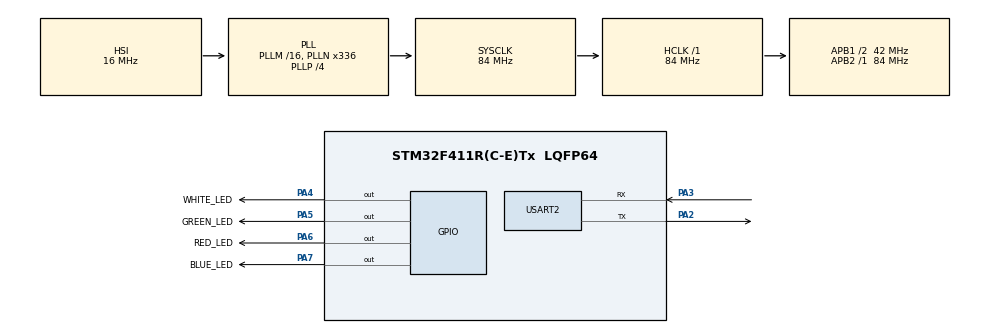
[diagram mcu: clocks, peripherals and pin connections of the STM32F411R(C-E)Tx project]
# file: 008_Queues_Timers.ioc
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Mcu.Family=STM32F4
Mcu.Name=STM32F411R(C-E)Tx
Mcu.Package=LQFP64
NVIC.PriorityGroup=NVIC_PRIORITYGROUP_4
NVIC.TIM1_UP_TIM10_IRQn=true\:0\:0\:true\:false\:true\:false\:true\:true
NVIC.TimeBase=TIM1_UP_TIM10_IRQn
NVIC.TimeBaseIP=TIM1
NVIC.USART2_IRQn=true\:6\:0\:true\:false\:true\:true\:true\:true
PA2.Mode=Asynchronous
PA2.Signal=USART2_TX
PA3.Mode=Asynchronous
PA3.Signal=USART2_RX
PA4.GPIO_Label=WHITE_LED
PA4.Signal=GPIO_Output
PA5.GPIO_Label=GREEN_LED
PA5.Signal=GPIO_Output
PA6.GPIO_Label=RED_LED
PA6.Signal=GPIO_Output
PA7.GPIO_Label=BLUE_LED
PA7.Signal=GPIO_Output
ProjectManager.HeapSize=0x200
ProjectManager.StackSize=0x400
ProjectManager.TargetToolchain=CMake
RCC.48MHZClocksFreq_Value=84000000
RCC.AHBFreq_Value=84000000
RCC.APB1CLKDivider=RCC_HCLK_DIV2
RCC.APB1Freq_Value=42000000
RCC.APB1TimFreq_Value=84000000
RCC.APB2Freq_Value=84000000
RCC.APB2TimFreq_Value=84000000
RCC.CortexFreq_Value=84000000
RCC.FLatency-AdvancedSettings=FLASH_LATENCY_2
RCC.HCLKFreq_Value=84000000
RCC.HSE_VALUE=8000000
RCC.HSI_VALUE=16000000
RCC.LSE_VALUE=32768
RCC.PLLN=336
RCC.PLLP=RCC_PLLP_DIV4
RCC.SYSCLKFreq_VALUE=84000000
RCC.SYSCLKSource=RCC_SYSCLKSOURCE_PLLCLK
RCC.VCOOutputFreq_Value=336000000
RTC.HourFormat=RTC_HOURFORMAT_12
USART2.VirtualMode=VM_ASYNC
VP_RTC_VS_RTC_Activate.Mode=RTC_Enabled
VP_SYS_VS_tim1.Mode=TIM1
board=NUCLEO-F411RE

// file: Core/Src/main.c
/* USER CODE BEGIN Header */
/**
  ******************************************************************************
  * @file           : main.c
  * @brief          : Main program body
  ******************************************************************************
  * @attention
  *
  * Copyright (c) 2026 STMicroelectronics.
  * All rights reserved.
  *
  * This software is licensed under terms that can be found in the LICENSE file
  * in the root directory of this software component.
  * If no LICENSE file comes with this software, it is provided AS-IS.
  *
  ******************************************************************************
  */
/* USER CODE END Header */
#include "main.h"

/* USER CODE BEGIN Includes */
#include "FreeRTOS.h"
#include "task.h"
#include "queue.h"
#include "timers.h"

#include "FreeRTOSConfig.h"

#include "stdio.h"
/* USER CODE END Includes */

RTC_HandleTypeDef hrtc;

UART_HandleTypeDef huart2;

/* USER CODE BEGIN PV */
TaskHandle_t handle_task_menu, handle_task_led, handle_task_rtc, handle_task_print, handle_task_command_handling;
QueueHandle_t handle_queue_print, handle_queue_input_data;

volatile uint8_t user_data;

volatile state_t curr_state = S_MAIN_MENU;

TimerHandle_t handle_led_timers[4];
/* USER CODE END PV */

void SystemClock_Config(void);
static void MX_GPIO_Init(void);
static void MX_RTC_Init(void);
static void MX_USART2_UART_Init(void);

int main(void)
{

  /* MCU Configuration--------------------------------------------------------*/

  /* Reset of all peripherals, Initializes the Flash interface and the Systick. */
  HAL_Init();

  /* Configure the system clock */
  SystemClock_Config();

  /* Initialize all configured peripherals */
  MX_GPIO_Init();
  MX_RTC_Init();
  MX_USART2_UART_Init();
  /* USER CODE BEGIN 2 */
  BaseType_t status;

  status = xTaskCreate(
    menu_task,
    "menu_task",
    250,
    NULL,
    2,
    &handle_task_menu
  );
  configASSERT(status == pdPASS);

  status = xTaskCreate(
    led_task,
    "led_task",
    250,
    NULL,
    2,
    &handle_task_led
  );
  configASSERT(status == pdPASS);

  status = xTaskCreate(
    rtc_task,
    "rtc_task",
    250,
    NULL,
    2,
    &handle_task_rtc
  );
  configASSERT(status == pdPASS);

  status = xTaskCreate(
    print_task,
    "print_task",
    250,
    NULL,
    2,
    &handle_task_print
  );
  configASSERT(status == pdPASS);

  status = xTaskCreate(
    command_handling_task,
    "command_handling_task",
    250,
    NULL,
    2,
    &handle_task_command_handling
  );
  configASSERT(status == pdPASS);

  handle_queue_print = xQueueCreate(10, sizeof( char* ));
  configASSERT( handle_queue_print != NULL );

  handle_queue_input_data = xQueueCreate(10, sizeof( size_t ));   // SIZE OF A POINTER
  configASSERT( handle_queue_input_data != NULL );

  for( uint8_t i= 0; i < 4; i++ )
  {
    handle_led_timers[i] = xTimerCreate("LED_Timer", pdMS_TO_TICKS(500), pdTRUE, (void*)(i+1), LED_Timer_Callback);
  }

  HAL_UART_Receive_IT(&huart2, (uint8_t*) &user_data, 1);

  vTaskStartScheduler();
  /* USER CODE END 2 */

  /* Infinite loop */
  while (1)
  {

  }
}

void SystemClock_Config(void)
{
  RCC_OscInitTypeDef RCC_OscInitStruct = {0};
  RCC_ClkInitTypeDef RCC_ClkInitStruct = {0};

  /** Configure the main internal regulator output voltage
  */
  __HAL_RCC_PWR_CLK_ENABLE();
  __HAL_PWR_VOLTAGESCALING_CONFIG(PWR_REGULATOR_VOLTAGE_SCALE1);

  /** Initializes the RCC Oscillators according to the specified parameters
  * in the RCC_OscInitTypeDef structure.
  */
  RCC_OscInitStruct.OscillatorType = RCC_OSCILLATORTYPE_HSI|RCC_OSCILLATORTYPE_LSI;
  RCC_OscInitStruct.HSIState = RCC_HSI_ON;
  RCC_OscInitStruct.HSICalibrationValue = RCC_HSICALIBRATION_DEFAULT;
  RCC_OscInitStruct.LSIState = RCC_LSI_ON;
  RCC_OscInitStruct.PLL.PLLState = RCC_PLL_ON;
  RCC_OscInitStruct.PLL.PLLSource = RCC_PLLSOURCE_HSI;
  RCC_OscInitStruct.PLL.PLLM = 16;
  RCC_OscInitStruct.PLL.PLLN = 336;
  RCC_OscInitStruct.PLL.PLLP = RCC_PLLP_DIV4;
  RCC_OscInitStruct.PLL.PLLQ = 4;
  if (HAL_RCC_OscConfig(&RCC_OscInitStruct) != HAL_OK)
  {
    Error_Handler();
  }

  /** Initializes the CPU, AHB and APB buses clocks
  */
  RCC_ClkInitStruct.ClockType = RCC_CLOCKTYPE_HCLK|RCC_CLOCKTYPE_SYSCLK
                              |RCC_CLOCKTYPE_PCLK1|RCC_CLOCKTYPE_PCLK2;
  RCC_ClkInitStruct.SYSCLKSource = RCC_SYSCLKSOURCE_PLLCLK;
  RCC_ClkInitStruct.AHBCLKDivider = RCC_SYSCLK_DIV1;
  RCC_ClkInitStruct.APB1CLKDivider = RCC_HCLK_DIV2;
  RCC_ClkInitStruct.APB2CLKDivider = RCC_HCLK_DIV1;

  if (HAL_RCC_ClockConfig(&RCC_ClkInitStruct, FLASH_LATENCY_2) != HAL_OK)
  {
    Error_Handler();
  }
}

static void MX_RTC_Init(void)
{

  /** Initialize RTC Only
  */
  hrtc.Instance = RTC;
  hrtc.Init.HourFormat = RTC_HOURFORMAT_12;
  hrtc.Init.AsynchPrediv = 127;
  hrtc.Init.SynchPrediv = 255;
  hrtc.Init.OutPut = RTC_OUTPUT_DISABLE;
  hrtc.Init.OutPutPolarity = RTC_OUTPUT_POLARITY_HIGH;
  hrtc.Init.OutPutType = RTC_OUTPUT_TYPE_OPENDRAIN;
  if (HAL_RTC_Init(&hrtc) != HAL_OK)
  {
    Error_Handler();
  }

}

static void MX_USART2_UART_Init(void)
{

  huart2.Instance = USART2;
  huart2.Init.BaudRate = 115200;
  huart2.Init.WordLength = UART_WORDLENGTH_8B;
  huart2.Init.StopBits = UART_STOPBITS_1;
  huart2.Init.Parity = UART_PARITY_NONE;
  huart2.Init.Mode = UART_MODE_TX_RX;
  huart2.Init.HwFlowCtl = UART_HWCONTROL_NONE;
  huart2.Init.OverSampling = UART_OVERSAMPLING_16;
  if (HAL_UART_Init(&huart2) != HAL_OK)
  {
    Error_Handler();
  }

}

static void MX_GPIO_Init(void)
{
  GPIO_InitTypeDef GPIO_InitStruct = {0};

  /* GPIO Ports Clock Enable */
  __HAL_RCC_GPIOA_CLK_ENABLE();

  /*Configure GPIO pin Output Level */
  HAL_GPIO_WritePin(GPIOA, WHITE_LED_Pin|GREEN_LED_Pin|RED_LED_Pin|BLUE_LED_Pin, GPIO_PIN_RESET);

  /*Configure GPIO pins : WHITE_LED_Pin GREEN_LED_Pin RED_LED_Pin BLUE_LED_Pin */
  GPIO_InitStruct.Pin = WHITE_LED_Pin|GREEN_LED_Pin|RED_LED_Pin|BLUE_LED_Pin;
  GPIO_InitStruct.Mode = GPIO_MODE_OUTPUT_PP;
  GPIO_InitStruct.Pull = GPIO_NOPULL;
  GPIO_InitStruct.Speed = GPIO_SPEED_FREQ_LOW;
  HAL_GPIO_Init(GPIOA, &GPIO_InitStruct);

}

/* USER CODE BEGIN 4 */
void LED_Timer_Callback( TimerHandle_t xTimer )
{
  uint32_t id;
  id = (uint32_t) pvTimerGetTimerID(xTimer);

  switch (id)
  {
  case 1:
    led_effect_1();
    break;

  case 2:
    led_effect_2();
    break;

  case 3:
    led_effect_3();
    break;

  case 4:
    led_effect_4();
    break;
  }
}

void HAL_UART_RxCpltCallback(UART_HandleTypeDef *huart)
{
    BaseType_t xHigherPriorityTaskWoken;
    xHigherPriorityTaskWoken = pdFALSE;

  if( xQueueIsQueueFullFromISR(handle_queue_input_data) == pdFALSE )
	{
		/*Queue is not full */
    xQueueSendFromISR(handle_queue_input_data, (void *) &user_data, &xHigherPriorityTaskWoken);

	}else{
		/*Queue is full */

		if( user_data == '\n' )
		{
			/*user_data = '\n' */
      xQueueOverwriteFromISR(handle_queue_input_data, (void *) &user_data, &xHigherPriorityTaskWoken);
    }
	}

  if( user_data == '\n' )
  {
    xTaskNotifyFromISR(handle_task_command_handling, 0, eNoAction, &xHigherPriorityTaskWoken);
  }

  HAL_UART_Receive_IT(&huart2, (uint8_t*) &user_data, 1);
}

/* USER CODE END 4 */

void HAL_TIM_PeriodElapsedCallback(TIM_HandleTypeDef *htim)
{
  if (htim->Instance == TIM1)
  {
    HAL_IncTick();
  }
}

void Error_Handler(void)
{
  __disable_irq();
  while (1)
  {
  }
}
